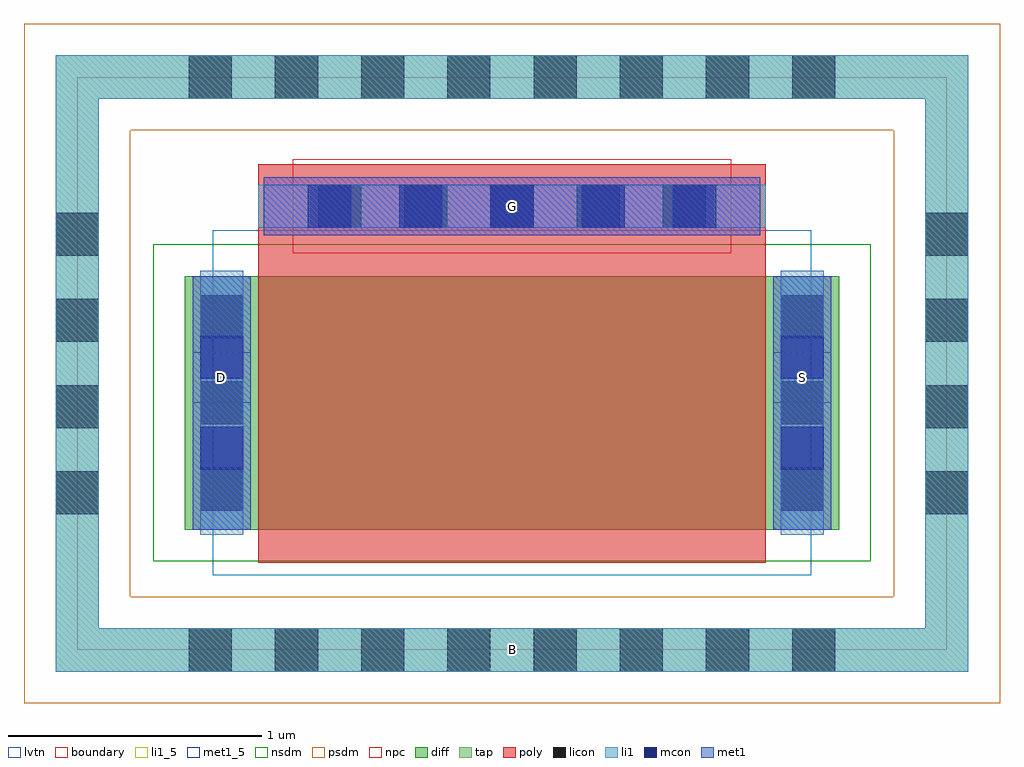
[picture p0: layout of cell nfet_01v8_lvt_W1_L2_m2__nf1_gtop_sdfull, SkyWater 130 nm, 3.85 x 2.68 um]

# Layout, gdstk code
import gdstk
lib = gdstk.Library(unit=1e-6, precision=1e-09)
def R(c, l, rs):  # rectangles x0, y0, x1, y1
    for r in rs: c.add(gdstk.rectangle(r[:2], r[2:], *l))
def A(c, l, x, y, w, h, nx, ny, dx, dy):  # array of equal rectangles
    R(c, l, [(x+i*dx, y+j*dy, x+i*dx+w, y+j*dy+h) for i in range(nx) for j in range(ny)])
diff = (65, 20)
tap = (65, 44)
poly = (66, 20)
licon = (66, 44)
li1_5 = (67, 5)
li1 = (67, 20)
mcon = (67, 44)
met1_5 = (68, 5)
met1 = (68, 20)
nsdm = (93, 44)
psdm = (94, 20)
npc = (95, 20)
lvtn = (125, 44)
boundary = (235, 4)

sky130_fd_pr__nfet_01v8_ = lib.new_cell('sky130_fd_pr__nfet_01v8_lvt_LLY2WS')
R(sky130_fd_pr__nfet_01v8_, diff, [(-1.29,-0.655,1.29,0.345)])
R(sky130_fd_pr__nfet_01v8_, tap, [(-1.8,-1.215,1.8,-1.045), (-1.8,-1.045,-1.63,1.045), (1.63,-1.045,1.8,1.045), (-1.8,1.045,1.8,1.215)])
R(sky130_fd_pr__nfet_01v8_, poly, [(-1,-0.785,1,0.785)])
A(sky130_fd_pr__nfet_01v8_, licon, -1.275, -1.215, 0.17, 0.17, 8, 2, 0.34, 2.26)
A(sky130_fd_pr__nfet_01v8_, licon, -1.8, -0.595, 0.17, 0.17, 1, 4, 0, 0.34)
A(sky130_fd_pr__nfet_01v8_, licon, 1.63, -0.595, 0.17, 0.17, 1, 4, 0, 0.34)
A(sky130_fd_pr__nfet_01v8_, licon, -1.23, -0.58, 0.17, 0.17, 1, 3, 0, 0.34)
A(sky130_fd_pr__nfet_01v8_, licon, 1.06, -0.58, 0.17, 0.17, 1, 3, 0, 0.34)
A(sky130_fd_pr__nfet_01v8_, licon, -0.765, 0.535, 0.17, 0.17, 5, 1, 0.34, 0)
R(sky130_fd_pr__nfet_01v8_, li1, [(-1.8,-1.215,1.8,-1.045), (-1.8,-1.045,-1.63,1.045), (1.63,-1.045,1.8,1.045), (-1.23,-0.675,-1.06,0.365), (1.06,-0.675,1.23,0.365), (-1,0.535,1,0.705), (-1.8,1.045,1.8,1.215)])
A(sky130_fd_pr__nfet_01v8_, mcon, -0.805, 0.535, 0.17, 0.17, 5, 1, 0.36, 0)
R(sky130_fd_pr__nfet_01v8_, mcon, [(-1.23,-0.42,-1.06,-0.25), (1.06,-0.42,1.23,-0.25), (-1.23,-0.06,-1.06,0.11), (1.06,-0.06,1.23,0.11)])
R(sky130_fd_pr__nfet_01v8_, met1, [(-1.26,-0.655,-1.03,0.345), (1.03,-0.655,1.26,0.345), (-0.98,0.505,0.98,0.735)])
R(sky130_fd_pr__nfet_01v8_, nsdm, [(-1.415,-0.78,1.415,0.47)])
R(sky130_fd_pr__nfet_01v8_, psdm, [(-1.925,-1.34,1.925,-0.92), (-1.925,-0.92,-1.505,0.92), (1.505,-0.92,1.925,0.92), (-1.925,0.92,1.925,1.34)])
R(sky130_fd_pr__nfet_01v8_, npc, [(-0.865,0.435,0.865,0.805)])
R(sky130_fd_pr__nfet_01v8_, lvtn, [(-1.18,-0.835,1.18,0.525)])
R(sky130_fd_pr__nfet_01v8_, boundary, [(-1.715,-1.13,1.715,1.13)])
sky130_fd_pr__nfet_01v8_.add(gdstk.Label('B', (0,-1.13), layer=67, texttype=5))
sky130_fd_pr__nfet_01v8_.add(gdstk.Label('D', (-1.145,-0.155), layer=67, texttype=5))
sky130_fd_pr__nfet_01v8_.add(gdstk.Label('S', (1.145,-0.155), layer=67, texttype=5))
sky130_fd_pr__nfet_01v8_.add(gdstk.Label('G', (0,0.62), layer=67, texttype=5))

nfet_01v8_lvt_w1_l2_m2__ = lib.new_cell('nfet_01v8_lvt_W1_L2_m2__nf1_gtop_sdfull')
R(nfet_01v8_lvt_w1_l2_m2__, li1_5, [(1.63,-0.085,1.8,0.085)])
R(nfet_01v8_lvt_w1_l2_m2__, li1, [(1.63,-0.085,1.8,0.085)])
R(nfet_01v8_lvt_w1_l2_m2__, met1_5, [(0.455,0.975,0.685,1.175), (2.745,0.975,2.975,1.175), (0.735,1.635,2.695,1.865)])
R(nfet_01v8_lvt_w1_l2_m2__, met1, [(0.455,0.975,0.685,1.175), (2.745,0.975,2.975,1.175), (0.735,1.635,2.695,1.865)])
nfet_01v8_lvt_w1_l2_m2__.add(gdstk.Reference(sky130_fd_pr__nfet_01v8_, (1.715,1.13)))
nfet_01v8_lvt_w1_l2_m2__.add(gdstk.Label('D', (0.57,1.075), layer=68, texttype=5))
nfet_01v8_lvt_w1_l2_m2__.add(gdstk.Label('S', (2.86,1.075), layer=68, texttype=5))
nfet_01v8_lvt_w1_l2_m2__.add(gdstk.Label('G', (1.715,1.75), layer=68, texttype=5))
nfet_01v8_lvt_w1_l2_m2__.add(gdstk.Label('B', (1.715,0), layer=67, texttype=5))

lib.write_gds('nfet_01v8_lvt_W1_L2_m2__nf1_gtop_sdfull.gds')
